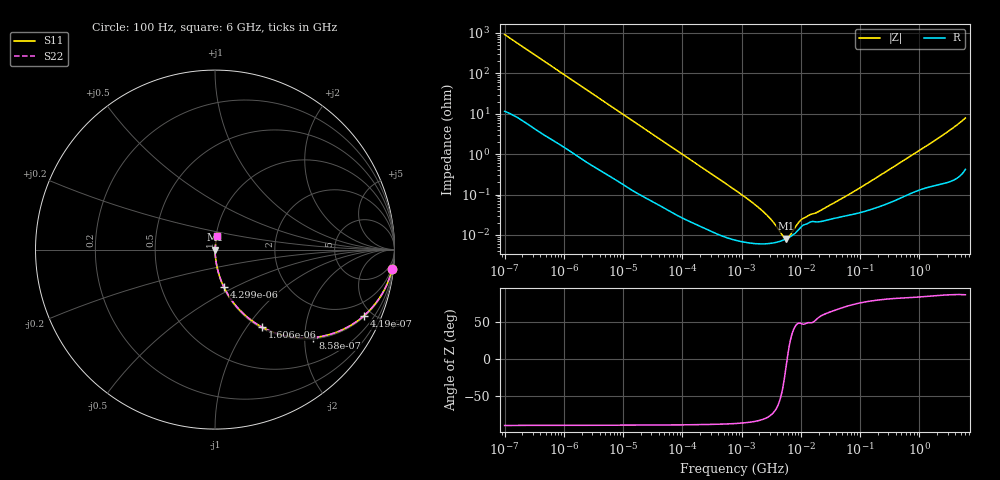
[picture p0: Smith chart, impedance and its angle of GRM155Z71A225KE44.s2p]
!Murata Part Number: GRM155Z71A225KE44
!These Parameters are Measured in Series Mode Connection
!Data Generated on Mar 30, 2021
!  o--ll--o
!Port1  Port2
!  o------o
!Operation Temp=25[degC], DC Bias Voltage=0[V]
!Freq. Start=100[Hz] Stop=6[GHz] 401[Steps]
# Hz S RI R 50
!Freq.(Hz) S11(Real) S11(Imag) S21(Real) S21(Imag) S12(Real) S12(Imag) S22(Real) S22(Imag)
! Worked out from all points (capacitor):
!   401 points, 100 Hz to 6 GHz, reference 50 ohm
!   read as one part in series: C = 1.72 uF near 109 Hz
!   lowest |Z| = 8.13 mohm at 5.555 MHz (marker M1)
!   series resonance near 5.877 MHz, so ESL is about 430 pH
!   S11 on the Smith chart (normalised r, x): 100 Hz: 1, -18; 419 Hz: 1.07, -4.46; 858 Hz: 1.03, -2.19; 1.606 kHz: 1.02, -1.18; 4.299 kHz: 1.01, -0.44; 6 GHz: 1.01, +0.16
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100  0.987 -0.1071  0.013 0.1071  0.013 0.1071  0.987 -0.1071
224  0.9421 -0.2264  0.0579 0.2264  0.0579 0.2264  0.9421 -0.2264
419  0.8288 -0.3694  0.1712 0.3694  0.1712 0.3694  0.8288 -0.3694
858  0.545 -0.4902  0.455 0.4902  0.455 0.4902  0.545 -0.4902
1606  0.2612 -0.4314  0.7388 0.4314  0.7388 0.4314  0.2612 -0.4314
2008  0.1862 -0.3814  0.8138 0.3814  0.8138 0.3814  0.1862 -0.3814
4299  0.0503 -0.2102  0.9497 0.2102  0.9497 0.2102  0.0503 -0.2102
11009  0.00921 -0.0868  0.9908 0.0868  0.9908 0.0868  0.00921 -0.0868
40335  0.00114 -0.0243  0.9989 0.0243  0.9989 0.0243  0.00114 -0.0243
774597  7.61e-05 -0.0013  0.9999 0.0013  0.9999 0.0013  7.61e-05 -0.0013
2169299  6.01e-05 -0.00041  0.9999 0.00041  0.9999 0.00041  6.01e-05 -0.00041
3245845  6.25e-05 -0.00022  0.9999 0.00022  0.9999 0.00022  6.25e-05 -0.00022
4643984  7.11e-05 -8.24e-05  0.9999 8.24e-05  0.9999 8.24e-05  7.11e-05 -8.24e-05
5554849  7.89e-05 -1.94e-05  0.9999 1.94e-05  0.9999 1.94e-05  7.89e-05 -1.94e-05
6353432  8.72e-05 2.69e-05  0.9999 -2.69e-05  0.9999 -2.69e-05  8.72e-05 2.69e-05
6948629  9.44e-05 5.77e-05  0.9999 -5.77e-05  0.9999 -5.77e-05  9.44e-05 5.77e-05
1.039699e7  0.000165 0.000182  0.9998 -0.000182  0.9998 -0.000182  0.000165 0.000182
1.555665e7  0.000215 0.00025  0.9998 -0.00025  0.9998 -0.00025  0.000215 0.00025
5.699437e7  0.000295 0.00085  0.9997 -0.00085  0.9997 -0.00085  0.000295 0.00085
3.124326e8  0.000637 0.00412  0.9994 -0.00412  0.9994 -0.00412  0.000637 0.00412
1.95892e9  0.00223 0.0232  0.9978 -0.0232  0.9978 -0.0232  0.00223 0.0232
6e9  0.0102 0.0773  0.9898 -0.0773  0.9898 -0.0773  0.0102 0.0773
